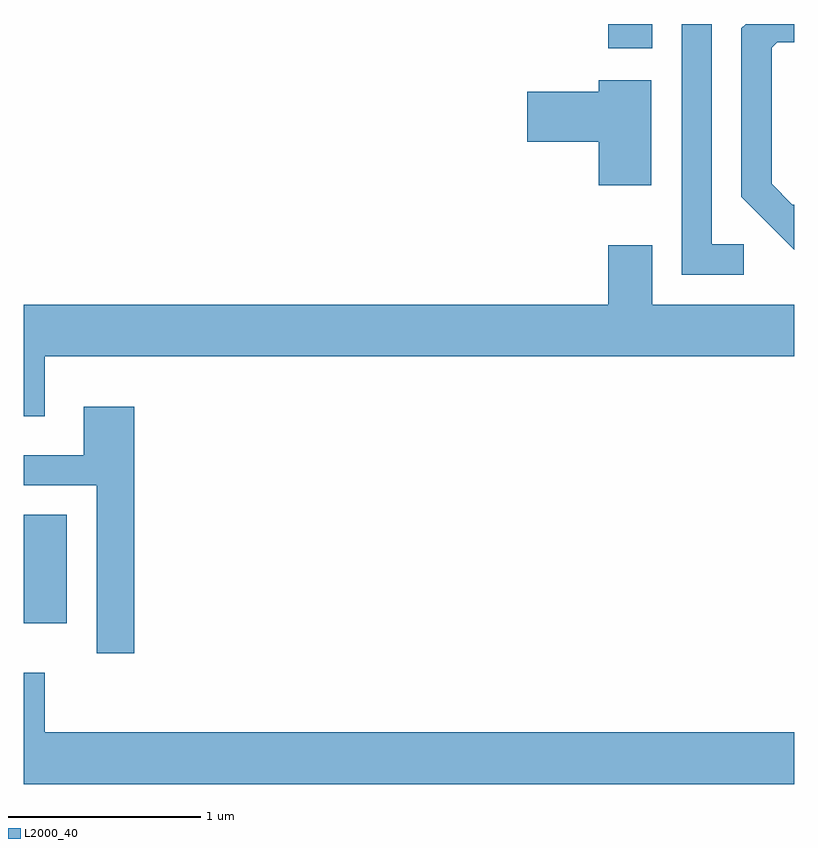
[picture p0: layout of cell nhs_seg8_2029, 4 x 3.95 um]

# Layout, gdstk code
import gdstk
lib = gdstk.Library(unit=1e-6, precision=1e-09)
def R(c, l, rs):  # rectangles x0, y0, x1, y1
    for r in rs: c.add(gdstk.rectangle(r[:2], r[2:], *l))
def P(c, l, *ps):  # polygons
    for p in ps: c.add(gdstk.Polygon(p, *l))
L2000_40 = (2000, 40)

nhs_seg8_2029 = lib.new_cell('nhs_seg8_2029')
R(nhs_seg8_2029, L2000_40, [(245.611,1857.231,245.834,1857.794), (248.646,1860.216,248.874,1860.342)])
P(nhs_seg8_2029, L2000_40, [(249.611,1859.404),(249.602,1859.404),(249.494,1859.512),(249.494,1860.219),(249.522,1860.246),(249.611,1860.246),(249.611,1860.342),(249.359,1860.342),(249.336,1860.319),(249.336,1859.444),(249.611,1859.169)],
  [(249.348,1859.199),(249.184,1859.199),(249.184,1860.342),(249.026,1860.342),(249.026,1859.041),(249.348,1859.041)],
  [(248.869,1860.049),(248.596,1860.049),(248.596,1859.989),(248.226,1859.989),(248.226,1859.731),(248.596,1859.731),(248.596,1859.506),(248.869,1859.506)],
  [(245.719,1858.616),(249.611,1858.616),(249.611,1858.884),(248.874,1858.884),(248.874,1859.194),(248.646,1859.194),(248.646,1858.884),(245.611,1858.884),(245.611,1858.306),(245.719,1858.306)],
  [(246.184,1858.354),(245.921,1858.354),(245.921,1858.104),(245.611,1858.104),(245.611,1857.946),(245.991,1857.946),(245.991,1857.076),(246.184,1857.076)],
  [(249.611,1856.664),(245.719,1856.664),(245.719,1856.974),(245.611,1856.974),(245.611,1856.396),(249.611,1856.396)])

lib.write_gds('nhs_seg8_2029.gds')
